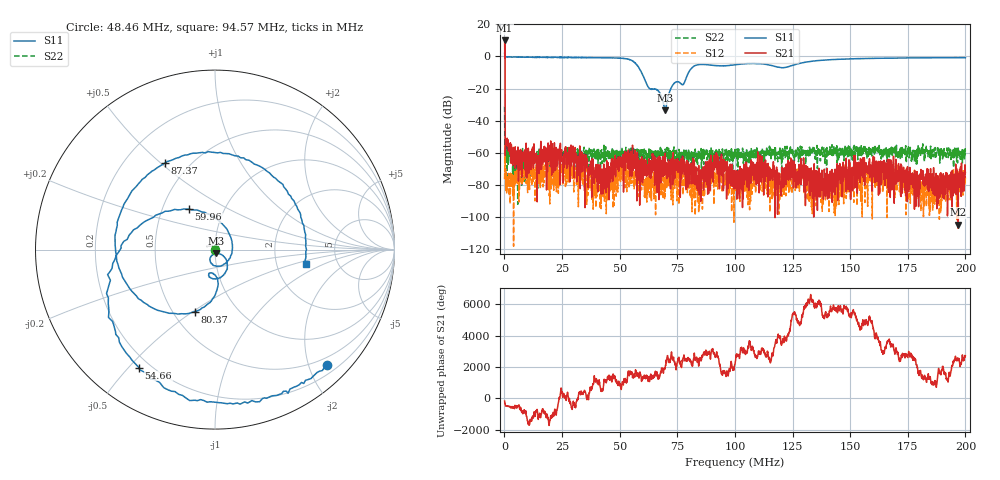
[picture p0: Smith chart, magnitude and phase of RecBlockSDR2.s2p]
! 19-Feb-26 3:26:35 PM
! E:\VNA_MEASUREMENTS\RECBLOCK\RECBLOCKSDR2.S2P
! CHANNEL.1
! TR.MEASUREMENT
! CORRECTED.DATA
# GHZ S RI R 50.0
! FREQ.GHZ  S11RE  S11IM  S21RE  S21IM  S12RE  S12IM  S22RE  S22IM
!; PortSelection: Port_12
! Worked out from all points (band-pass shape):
!   2000 points, 50 kHz to 200 MHz, reference 50 ohm
!   highest |S21| = 9.99 dB at 50 kHz (marker M1); lowest = -104.9 dB at 196.8 MHz (marker M2)
!   |S21| within 3 dB of the highest: start of sweep to 76.81 kHz; 235.7 kHz to 252 kHz (16.32 kHz wide, 6.69 % of centre)
!   lowest |S11| = -33.5 dB at 69.77 MHz (marker M3), VSWR 1.04, Z = 50.4 - j2.09 ohm
!   |S11| at or under -10 dB: 59.47 MHz to 79.87 MHz (20.4 MHz wide, 29.3 % of centre)
!   |S22| runs from -92.3 to -31.2 dB; largest |S21 - S12| = 3.2
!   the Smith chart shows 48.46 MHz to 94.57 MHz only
!   S11 on the Smith chart (normalised r, x): 48.46 MHz: 0.35, -2.32; 54.66 MHz: 0.16, -0.53; 59.96 MHz: 0.68, +0.33; 80.37 MHz: 0.64, -0.51; 87.37 MHz: 0.37, +0.52; 94.57 MHz: 2.94, -0.63
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5e-05  -0.3755 1.195  -3.155 -0.1539  -0.000145 -2.38e-05  0.0264 0.00763
0.001350325  -0.9681 0.0826  -0.00207 -0.00141  -6.44e-05 5.95e-05  0.00207 -0.000391
0.005151276  -0.9142 0.296  -0.000511 -0.000121  0.000221 8.29e-05  -2.92e-05 0.000117
0.03345835  0.5654 0.7454  0.000936 0.000258  0.000103 -0.000167  -0.000107 0.00101
0.04846211  0.6249 -0.6449  -0.000243 0.000432  -7e-06 -4.32e-05  0.000292 0.00018
0.05466366  -0.4238 -0.6578  2.73e-05 0.00052  -4.03e-05 -9.98e-05  0.0002 0.000741
0.05996498  -0.1455 0.225  -0.000396 -0.000103  -2.38e-05 -0.00012  -8.27e-05 0.000896
0.06676668  -0.0138 -0.0812  -0.000103 -0.000192  7.21e-05 0.000259  0.000248 0.000503
0.06976743  0.00407 -0.0207  -0.000882 -0.000377  0.0002 -0.000289  -7.46e-05 0.0013
0.08037008  -0.1117 -0.346  0.000345 -3.85e-05  -2.21e-05 0.000154  0.000524 0.000513
0.08737184  -0.2795 0.4823  -0.00038 -0.000105  -9.09e-05 0.000102  0.000786 0.000736
0.09457364  0.5056 -0.0789  0.000477 0.000213  -0.00021 8.09e-05  0.000618 0.00115
0.100075  -0.1323 -0.5345  5.1e-05 5.42e-05  -5.23e-05 6.87e-05  0.000741 0.000663
0.1103776  -0.167 0.5748  0.000267 -0.000121  0.000176 -0.000221  0.000514 0.000778
0.116079  0.5061 0.1107  0.000291 6.33e-05  -0.000115 5.41e-05  0.000311 0.000771
0.1207802  -0.0232 -0.4457  -7.56e-05 -2.34e-05  -0.000167 -8.03e-05  9.35e-05 0.000618
0.1257814  -0.5248 0.1564  0.000155 0.00031  0.000103 -0.000242  0.000228 0.000493
0.1333833  0.1777 0.6904  -0.000186 -1.66e-05  -0.000105 -1.79e-05  0.000534 0.00103
0.1460865  0.817 -0.0367  -0.0001 0.000136  -0.00021 3.08e-05  9.09e-05 0.00122
0.1666917  0.2492 -0.8492  5.27e-05 2.42e-05  -7.29e-05 7.85e-05  0.000314 0.00125
0.1967992  -0.6411 -0.6525  -2.9e-06 -4.9e-06  2.85e-05 -1.91e-05  0.00054 0.00093
0.2  -0.6968 -0.5933  -0.000234 -5.38e-05  0.000166 1.24e-05  3.1e-06 0.00103
